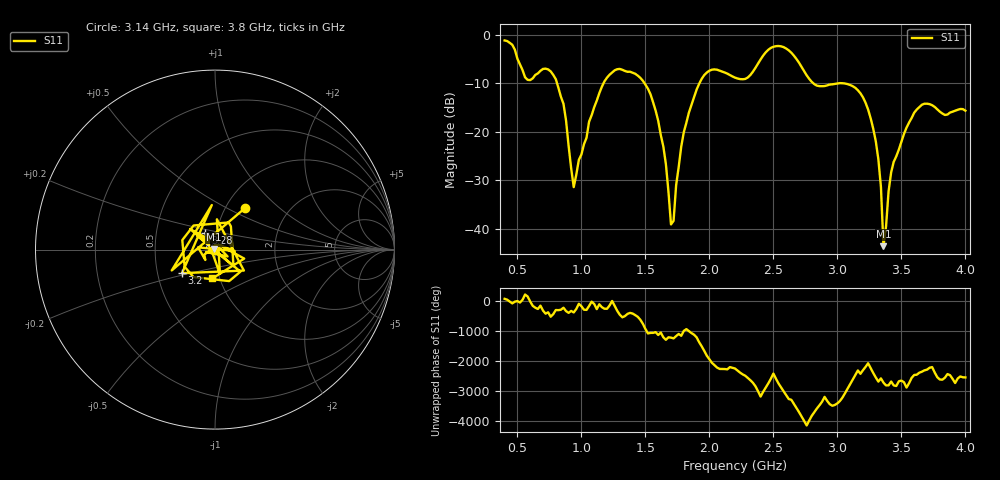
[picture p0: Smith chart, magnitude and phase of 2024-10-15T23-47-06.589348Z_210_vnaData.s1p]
! Created with skrf (http://scikit-rf.org).
# Hz S RI R 50.0
!freq ReS11 ImS11
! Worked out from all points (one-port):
!   181 points, 400 MHz to 4 GHz, reference 50 ohm
!   lowest |S11| = -43.6 dB at 3.36 GHz (marker M1), VSWR 1.01, Z = 49.4 + j0.226 ohm
!   |S11| at or under -10 dB: 809.5 MHz to 1.173 GHz (363.8 MHz wide, 36.7 % of centre); 1.493 GHz to 1.922 GHz (429.5 MHz wide, 25.2 % of centre); 3.033 GHz to end of sweep (the widest 3 of 4)
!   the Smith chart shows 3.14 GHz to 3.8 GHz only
!   S11 on the Smith chart (normalised r, x): 3.14 GHz: 1.23, +0.61; 3.2 GHz: 0.67, -0.19; 3.28 GHz: 0.88, +0.17; 3.8 GHz: 0.92, -0.30
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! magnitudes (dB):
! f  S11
! 400 MHz  -1.2
! 580 MHz  -9.3
! 760 MHz  -7.6
! 860 MHz  -14.2
! 940 MHz  -31.4
! 1.14 GHz  -12.1
! 1.3 GHz  -7.1
! 1.54 GHz  -12.3
! 1.64 GHz  -23.0
! 1.7 GHz  -39.1
! 1.72 GHz  -38.4
! 1.76 GHz  -27.3
! 1.8 GHz  -20.1
! 1.94 GHz  -9.1
! 2.2 GHz  -8.9
! 2.5 GHz  -2.5
! 2.66 GHz  -4.3
! 2.84 GHz  -10.5
! 3.1 GHz  -10.4
! 3.14 GHz  -11.0
! 3.2 GHz  -12.9
! 3.28 GHz  -19.4
! 3.34 GHz  -31.3
! 3.36 GHz  -43.6
! 3.42 GHz  -28.4
! 3.56 GHz  -18.1
! 3.8 GHz  -15.9
! 4 GHz  -15.7
